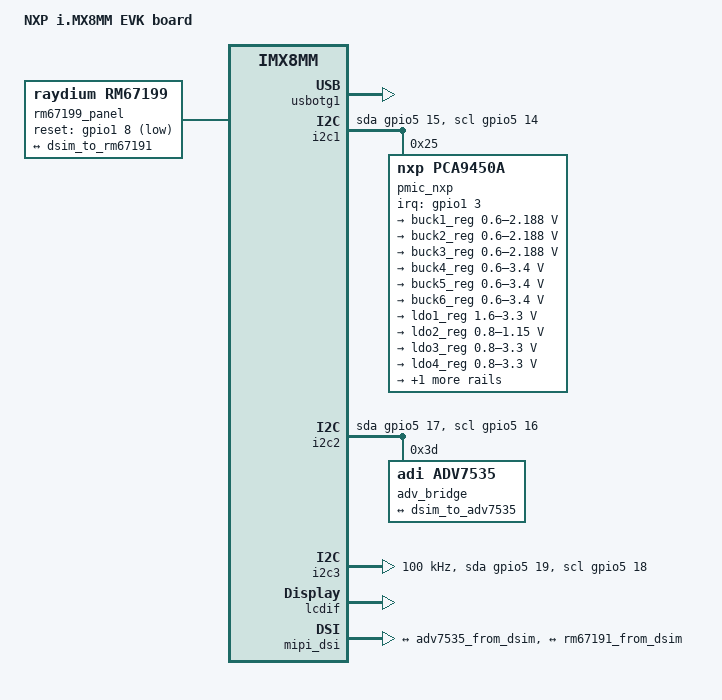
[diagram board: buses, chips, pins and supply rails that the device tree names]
// SPDX-License-Identifier: GPL-2.0+
/*
 * Copyright 2019, 2021 NXP
 */

#include "imx8mm-u-boot.dtsi"

/ {
	model = "NXP i.MX8MM EVK board";

	chosen {
		bootargs = "console=ttymxc1,115200 earlycon=ec_imx6q,0x30890000,115200";
	};

	wdt-reboot {
		compatible = "wdt-reboot";
		wdt = <&wdog1>;
		bootph-pre-ram;
	};

	aliases {
		usb_gadget0 = &usbg1;
		usb_gadget1 = &usbg2;
		video0 = &lcdif;
	};

	usbg1: usbg1 {
		compatible = "fsl,imx27-usb-gadget";
		dr_mode = "peripheral";
		chipidea,usb = <&usbotg1>;
		status = "okay";
	};

	usbg2: usbg2 {
		compatible = "fsl,imx27-usb-gadget";
		dr_mode = "peripheral";
		chipidea,usb = <&usbotg2>;
		status = "okay";
	};

	firmware {
		optee {
			compatible = "linaro,optee-tz";
			method = "smc";
		};
	};

	/delete-node/ hdmi-connector;

	dsi_host: dsi-host {
		compatible = "samsung,sec-mipi-dsi";
		status = "okay";
	};

	rm67199_panel {
		compatible = "raydium,rm67199";
		pinctrl-names = "default";
		pinctrl-0 = <&pinctrl_mipi_dsi_en>;
		reset-gpio = <&gpio1 8 GPIO_ACTIVE_LOW>;
		dsi-lanes = <4>;
		video-mode = <2>;	/* 0: burst mode
					 * 1: non-burst mode with sync event
					 * 2: non-burst mode with sync pulse
					 */
		panel-width-mm = <68>;
		panel-height-mm = <121>;
		status = "okay";

		port {
			rm67191_from_dsim: endpoint {
				remote-endpoint = <&dsim_to_rm67191>;
			};
		};
	};
};

&{/leds} {
	/delete-node/ status;

	led-0 {
		label = "status";
		gpios = <&gpio3 16 GPIO_ACTIVE_HIGH>;
		default-state = "on";
	};
};

&aips4 {
	bootph-pre-ram;
};

&reg_usdhc2_vmmc {
	off-on-delay-us = <20000>;
	bootph-pre-ram;
};

&pinctrl_reg_usdhc2_vmmc {
	bootph-pre-ram;
};

&pinctrl_uart2 {
	bootph-pre-ram;
};

&pinctrl_usdhc2_gpio {
	bootph-pre-ram;
};

&pinctrl_usdhc2 {
	bootph-pre-ram;
};

&pinctrl_usdhc3 {
	bootph-pre-ram;
};

&gpio1 {
	bootph-pre-ram;
};

&gpio2 {
	bootph-pre-ram;
};

&gpio3 {
	bootph-pre-ram;
};

&gpio4 {
	bootph-pre-ram;
};

&gpio5 {
	bootph-pre-ram;
};

&uart2 {
	bootph-pre-ram;
};

&usbmisc1 {
	bootph-pre-ram;
};

&usbphynop1 {
	bootph-pre-ram;
};

&usbotg1 {
	bootph-pre-ram;
};

&usdhc1 {
	bootph-pre-ram;
	assigned-clocks = <&clk IMX8MM_CLK_USDHC1>;
	assigned-clock-rates = <400000000>;
	assigned-clock-parents = <&clk IMX8MM_SYS_PLL1_400M>;
};

&usdhc2 {
	bootph-pre-ram;
	sd-uhs-sdr104;
	sd-uhs-ddr50;
	assigned-clocks = <&clk IMX8MM_CLK_USDHC2>;
	assigned-clock-rates = <400000000>;
	assigned-clock-parents = <&clk IMX8MM_SYS_PLL1_400M>;
	fsl,signal-voltage-switch-extra-delay-ms = <8>;
};

&usdhc3 {
	bootph-pre-ram;
	mmc-hs400-1_8v;
	mmc-hs400-enhanced-strobe;
	assigned-clocks = <&clk IMX8MM_CLK_USDHC3>;
	assigned-clock-rates = <400000000>;
	assigned-clock-parents = <&clk IMX8MM_SYS_PLL1_400M>;
};

&i2c1 {
	pinctrl-names = "default", "gpio";
	pinctrl-1 = <&pinctrl_i2c1_gpio>;
	scl-gpios = <&gpio5 14 GPIO_ACTIVE_HIGH>;
	sda-gpios = <&gpio5 15 GPIO_ACTIVE_HIGH>;
	bootph-pre-ram;

	pmic_nxp: pca9450@25 {
		compatible = "nxp,pca9450a";
		reg = <0x25>;
		pinctrl-0 = <&pinctrl_pmic>;
		pinctrl-names = "default";
		interrupt-parent = <&gpio1>;
		interrupts = <3 IRQ_TYPE_LEVEL_LOW>;
		bootph-pre-ram;

		regulators {
			bootph-pre-ram;

			buck1_reg: BUCK1 {
				regulator-name = "BUCK1";
				regulator-min-microvolt = <600000>;
				regulator-max-microvolt = <2187500>;
				regulator-boot-on;
				regulator-always-on;
				regulator-ramp-delay = <3125>;
				nxp,dvs-run-voltage = <850000>;
				nxp,dvs-standby-voltage = <800000>;
			};

			buck2_reg: BUCK2 {
				regulator-name = "BUCK2";
				regulator-min-microvolt = <600000>;
				regulator-max-microvolt = <2187500>;
				regulator-boot-on;
				regulator-always-on;
				regulator-ramp-delay = <3125>;
			};

			buck3_reg: BUCK3 {
				regulator-name = "BUCK3";
				regulator-min-microvolt = <600000>;
				regulator-max-microvolt = <2187500>;
				regulator-boot-on;
				regulator-always-on;
			};

			buck4_reg: BUCK4 {
				regulator-name = "BUCK4";
				regulator-min-microvolt = <600000>;
				regulator-max-microvolt = <3400000>;
				regulator-boot-on;
				regulator-always-on;
			};

			buck5_reg: BUCK5 {
				regulator-name = "BUCK5";
				regulator-min-microvolt = <600000>;
				regulator-max-microvolt = <3400000>;
				regulator-boot-on;
				regulator-always-on;
			};

			buck6_reg: BUCK6 {
				regulator-name = "BUCK6";
				regulator-min-microvolt = <600000>;
				regulator-max-microvolt = <3400000>;
				regulator-boot-on;
				regulator-always-on;
			};

			ldo1_reg: LDO1 {
				regulator-name = "LDO1";
				regulator-min-microvolt = <1600000>;
				regulator-max-microvolt = <3300000>;
				regulator-boot-on;
				regulator-always-on;
			};

			ldo2_reg: LDO2 {
				regulator-name = "LDO2";
				regulator-min-microvolt = <800000>;
				regulator-max-microvolt = <1150000>;
				regulator-boot-on;
				regulator-always-on;
			};

			ldo3_reg: LDO3 {
				regulator-name = "LDO3";
				regulator-min-microvolt = <800000>;
				regulator-max-microvolt = <3300000>;
				regulator-boot-on;
				regulator-always-on;
			};

			ldo4_reg: LDO4 {
				regulator-name = "LDO4";
				regulator-min-microvolt = <800000>;
				regulator-max-microvolt = <3300000>;
				regulator-boot-on;
				regulator-always-on;
			};

			ldo5_reg: LDO5 {
				regulator-name = "LDO5";
				regulator-min-microvolt = <1800000>;
				regulator-max-microvolt = <3300000>;
			};

		};
	};
};

&i2c2 {
	pinctrl-names = "default", "gpio";
	pinctrl-1 = <&pinctrl_i2c2_gpio>;
	scl-gpios = <&gpio5 16 GPIO_ACTIVE_HIGH>;
	sda-gpios = <&gpio5 17 GPIO_ACTIVE_HIGH>;

	/delete-node/hdmi@3d;

	adv_bridge: adv7535@3d {
		compatible = "adi,adv7535";
		reg = <0x3d>;
		adi,addr-cec = <0x3c>;
		adi,dsi-lanes = <4>;
		status = "okay";

		port {
			adv7535_from_dsim: endpoint {
				remote-endpoint = <&dsim_to_adv7535>;
			};
		};
	};
};

&i2c3 {
	clock-frequency = <100000>;
	pinctrl-names = "default", "gpio";
	pinctrl-1 = <&pinctrl_i2c3_gpio>;
	scl-gpios = <&gpio5 18 GPIO_ACTIVE_HIGH>;
	sda-gpios = <&gpio5 19 GPIO_ACTIVE_HIGH>;
};

/delete-node/ &{/soc@0/bus@30800000/i2c@30a20000/pmic@4b};

&pinctrl_i2c1 {
	bootph-pre-ram;
};

&pinctrl_pmic {
	bootph-pre-ram;
};

&pinctrl_wdog {
	bootph-pre-ram;
};

&ethphy0 {
	reset-assert-us = <15000>;
	reset-deassert-us = <100000>;

	vddio0: vddio-regulator {
		regulator-name = "VDDIO";
		regulator-min-microvolt = <1800000>;
		regulator-max-microvolt = <1800000>;
	};
};

&wdog1 {
	bootph-pre-ram;
};

&usbotg1 {
	status = "okay";
	extcon = <&ptn5110>;
};

&lcdif {
	display = <&display0>;
	status = "okay";

	display0: display@0 {
		bits-per-pixel = <24>;
		bus-width = <24>;
	};
};

&mipi_dsi {
	/delete-property/ assigned-clocks;
	/delete-property/ assigned-clock-parents;
	/delete-property/ assigned-clock-rates;

	ports {
		port@1 {
			dsim_to_adv7535: endpoint {
				remote-endpoint = <&adv7535_from_dsim>;
			};
		};

		port@2 {
			dsim_to_rm67191: endpoint {
				remote-endpoint = <&rm67191_from_dsim>;
			};
		};
	};
};

&iomuxc {
	pinctrl_i2c1_gpio: i2c1-gpiogrp {
		fsl,pins = <
			MX8MM_IOMUXC_I2C1_SCL_GPIO5_IO14        		0x1c3
			MX8MM_IOMUXC_I2C1_SDA_GPIO5_IO15        	0x1c3
		>;
	};

	pinctrl_i2c2_gpio: i2c2-gpiogrp {
		fsl,pins = <
			MX8MM_IOMUXC_I2C2_SCL_GPIO5_IO16        		0x1c3
			MX8MM_IOMUXC_I2C2_SDA_GPIO5_IO17        	0x1c3
		>;
	};

	pinctrl_i2c3_gpio: i2c3-gpiogrp {
		fsl,pins = <
			MX8MM_IOMUXC_I2C3_SCL_GPIO5_IO18        		0x1c3
			MX8MM_IOMUXC_I2C3_SDA_GPIO5_IO19        	0x1c3
		>;
	};

	pinctrl_mipi_dsi_en: mipidsiengrp {
		fsl,pins = <
			MX8MM_IOMUXC_GPIO1_IO08_GPIO1_IO8		0x19
		>;
	};
};
